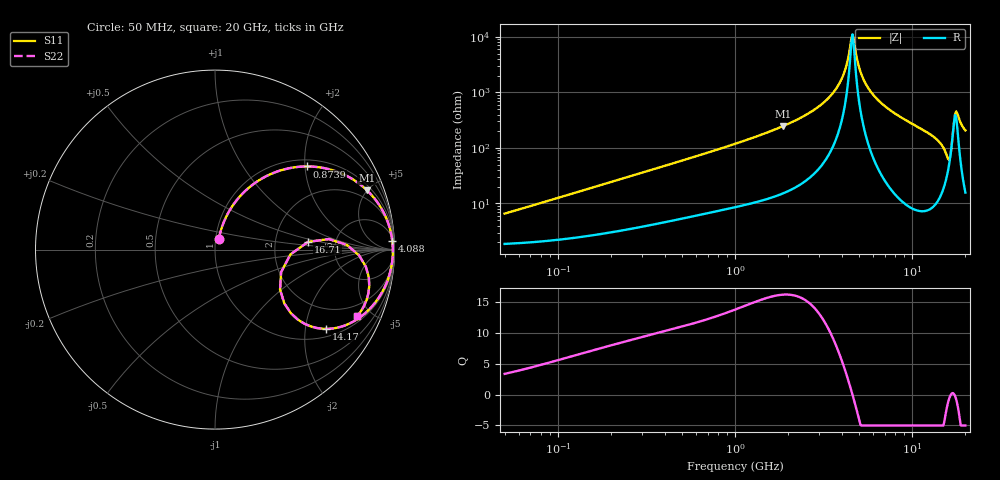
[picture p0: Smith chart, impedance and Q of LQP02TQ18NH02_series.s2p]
!Murata Part Number: LQP02TQ18NH02
!These Parameters are Measured in Series Mode Connection
!  o--[Z]--o
!Port1  Port2
!  o-------o
!Freq. Start=50[MHz] Stop=20[GHz], 401[Steps]
# Hz S RI R 50
!Freq.(Hz) S11(Real) S11(Imag) S21(Real) S21(Imag) S12(Real) S12(Imag) S22(Real) S22(Imag)
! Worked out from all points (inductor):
!   401 points, 50 MHz to 20 GHz, reference 50 ohm
!   read as one part in series: L = 20 nH near 51.52 MHz
!   highest Q = 16.2 at 1.876 GHz (marker M1), where L = 21.1 nH
!   self-resonance near 4.54 GHz
!   S11 on the Smith chart (normalised r, x): 50 MHz: 1.04, +0.13; 873.9 MHz: 1.16, +2.05; 4.088 GHz: 9, +40; 14.17 GHz: 1.24, -2.60; 16.71 GHz: 3.12, +0.37; 20 GHz: 1.31, -4.14
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5e7  0.0221 0.0605  0.9779 -0.0605  0.9779 -0.0605  0.0221 0.0605
1.364002e8  0.0498 0.1553  0.9502 -0.1553  0.9502 -0.1553  0.0498 0.1553
3.721004e8  0.1867 0.3432  0.8133 -0.3432  0.8133 -0.3432  0.1867 0.3432
8.738837e8  0.513 0.4633  0.487 -0.4633  0.487 -0.4633  0.513 0.4633
1e9  0.578 0.459  0.422 -0.459  0.422 -0.459  0.578 0.459
1.875929e9  0.846 0.3314  0.154 -0.3314  0.154 -0.3314  0.846 0.3314
2.728004e9  0.9423 0.2011  0.0577 -0.2011  0.0577 -0.2011  0.9423 0.2011
3.519108e9  0.9776 0.1047  0.0224 -0.1047  0.0224 -0.1047  0.9776 0.1047
4.087748e9  0.988 0.0467  0.012 -0.0467  0.012 -0.0467  0.988 0.0467
4.608136e9  0.991 -8.6e-05  0.00897 8.6e-05  0.00897 8.6e-05  0.991 -8.6e-05
4.748272e9  0.991 -0.0119  0.00895 0.0119  0.00895 0.0119  0.991 -0.0119
5.041459e9  0.9902 -0.0355  0.0098 0.0355  0.0098 0.0355  0.9902 -0.0355
5.433528e9  0.9874 -0.0653  0.0126 0.0653  0.0126 0.0653  0.9874 -0.0653
6.217679e9  0.9775 -0.1194  0.0225 0.1194  0.0225 0.1194  0.9775 -0.1194
7.442007e9  0.9528 -0.193  0.0472 0.193  0.0472 0.193  0.9528 -0.193
1.115139e10  0.8268 -0.3626  0.1732 0.3626  0.1732 0.3626  0.8268 -0.3626
1.417136e10  0.6197 -0.4418  0.3803 0.4418  0.3803 0.4418  0.6197 -0.4418
1.527346e10  0.4625 -0.3909  0.5375 0.3909  0.5375 0.3909  0.4625 -0.3909
1.597544e10  0.3625 -0.2227  0.6375 0.2227  0.6375 0.2227  0.3625 -0.2227
1.670968e10  0.518 0.0428  0.482 -0.0428  0.482 -0.0428  0.518 0.0428
1.774144e10  0.8403 -0.0949  0.1597 0.0949  0.1597 0.0949  0.8403 -0.0949
2e10  0.7939 -0.3683  0.2061 0.3683  0.2061 0.3683  0.7939 -0.3683
